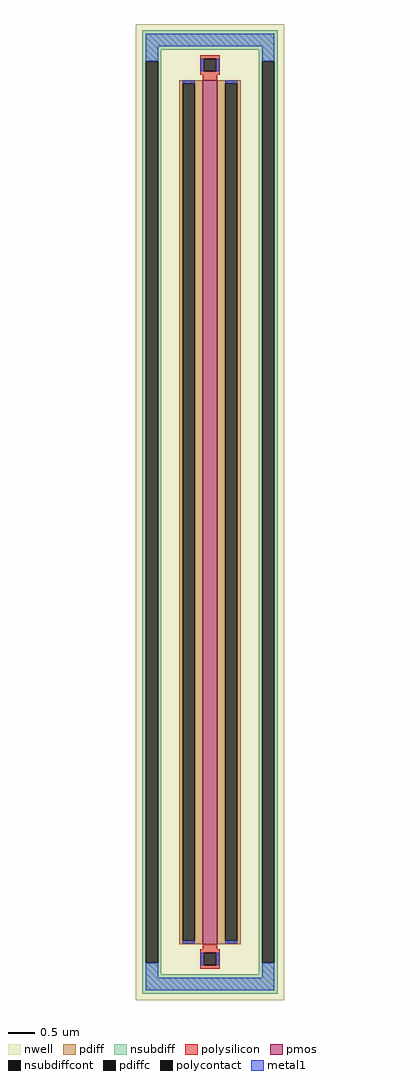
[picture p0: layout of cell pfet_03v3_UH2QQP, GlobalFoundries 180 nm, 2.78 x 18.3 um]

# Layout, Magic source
magic
tech gf180mcuD
magscale 1 10
<< nwell >>
rect -278 -1830 278 1830
<< pmos >>
rect -28 -1620 28 1620
<< pdiff >>
rect -116 1607 -28 1620
rect -116 -1607 -103 1607
rect -57 -1607 -28 1607
rect -116 -1620 -28 -1607
rect 28 1607 116 1620
rect 28 -1607 57 1607
rect 103 -1607 116 1607
rect 28 -1620 116 -1607
<< pdiffc >>
rect -103 -1607 -57 1607
rect 57 -1607 103 1607
<< nsubdiff >>
rect -254 1734 254 1806
rect -254 1690 -182 1734
rect -254 -1690 -241 1690
rect -195 -1690 -182 1690
rect 182 1690 254 1734
rect -254 -1734 -182 -1690
rect 182 -1690 195 1690
rect 241 -1690 254 1690
rect 182 -1734 254 -1690
rect -254 -1806 254 -1734
<< nsubdiffcont >>
rect -241 -1690 -195 1690
rect 195 -1690 241 1690
<< polysilicon >>
rect -36 1699 36 1712
rect -36 1653 -23 1699
rect 23 1653 36 1699
rect -36 1640 36 1653
rect -28 1620 28 1640
rect -28 -1640 28 -1620
rect -36 -1653 36 -1640
rect -36 -1699 -23 -1653
rect 23 -1699 36 -1653
rect -36 -1712 36 -1699
<< polycontact >>
rect -23 1653 23 1699
rect -23 -1699 23 -1653
<< metal1 >>
rect -241 1747 241 1793
rect -241 1690 -195 1747
rect -34 1653 -23 1699
rect 23 1653 34 1699
rect 195 1690 241 1747
rect -103 1607 -57 1618
rect -103 -1618 -57 -1607
rect 57 1607 103 1618
rect 57 -1618 103 -1607
rect -241 -1747 -195 -1690
rect -34 -1699 -23 -1653
rect 23 -1699 34 -1653
rect 195 -1747 241 -1690
rect -241 -1793 241 -1747
<< properties >>
string FIXED_BBOX -218 -1770 218 1770
string gencell pfet_03v3
string library gf180mcu
string parameters w 16.2 l 0.28 m 1 nf 1 diffcov 100 polycov 100 guard 1 glc 1 grc 1 gtc 0 gbc 0 tbcov 100 rlcov 100 topc 1 botc 1 poverlap 0 doverlap 1 lmin 0.28 wmin 0.22 class mosfet full_metal 1 compatible {pfet_03v3 pfet_05v0 pfet_06v0} ad {int((nf+1)/2) * W/nf * 0.18u} as {int((nf+2)/2) * W/nf * 0.18u} pd {2*int((nf+1)/2) * (W/nf + 0.18u)} ps {2*int((nf+2)/2) * (W/nf + 0.18u)} nrd {0.18u / W} nrs {0.18u / W} sa 0 sb 0 sd 0
<< end >>
